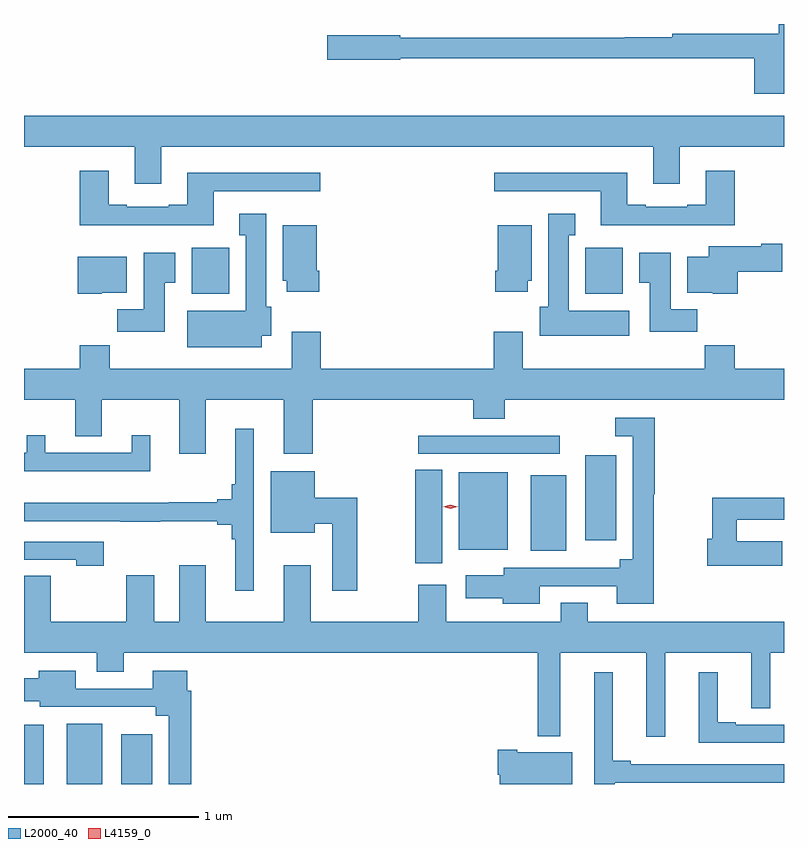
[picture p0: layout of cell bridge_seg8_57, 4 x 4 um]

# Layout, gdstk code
import gdstk
lib = gdstk.Library(unit=1e-6, precision=1e-09)
def R(c, l, rs):  # rectangles x0, y0, x1, y1
    for r in rs: c.add(gdstk.rectangle(r[:2], r[2:], *l))
def P(c, l, *ps):  # polygons
    for p in ps: c.add(gdstk.Polygon(p, *l))
L2000_40 = (2000, 40)
L4159_0 = (4159, 0)

bridge_seg8_57 = lib.new_cell('bridge_seg8_57')
R(bridge_seg8_57, L2000_40, [(1070.387,1107.818,1070.491,1108.129), (1070.612,1107.818,1070.8,1108.135), (1070.9,1107.818,1071.061,1108.081), (1072.447,1108.98,1072.588,1109.471), (1073.054,1109.045,1073.242,1109.443), (1072.676,1109.051,1072.933,1109.458), (1073.342,1109.1,1073.503,1109.548), (1072.461,1109.556,1073.206,1109.652), (1071.269,1110.398,1071.466,1110.64), (1073.342,1110.398,1073.539,1110.64)])
P(bridge_seg8_57, L2000_40, [(1074.387,1111.818),(1074.36,1111.818),(1074.36,1111.766),(1073.8,1111.766),(1073.8,1111.747),(1073.548,1111.747),(1073.548,1111.746),(1072.368,1111.746),(1072.368,1111.759),(1071.984,1111.759),(1071.984,1111.63),(1072.368,1111.63),(1072.368,1111.638),(1074.23,1111.638),(1074.23,1111.451),(1074.387,1111.451)],
  [(1071.109,1111.172),(1073.699,1111.172),(1073.699,1110.978),(1073.839,1110.978),(1073.839,1111.172),(1074.387,1111.172),(1074.387,1111.336),(1070.387,1111.336),(1070.387,1111.172),(1070.969,1111.172),(1070.969,1110.978),(1071.109,1110.978)],
  [(1074.128,1111.045),(1073.975,1111.045),(1073.975,1110.868),(1073.879,1110.868),(1073.879,1110.855),(1073.659,1110.855),(1073.659,1110.868),(1073.563,1110.868),(1073.563,1111.036),(1072.863,1111.036),(1072.863,1110.939),(1073.423,1110.939),(1073.423,1110.758),(1074.128,1110.758)],
  [(1071.385,1110.939),(1071.946,1110.939),(1071.946,1111.036),(1071.245,1111.036),(1071.245,1110.868),(1071.149,1110.868),(1071.149,1110.855),(1070.929,1110.855),(1070.929,1110.868),(1070.833,1110.868),(1070.833,1111.045),(1070.681,1111.045),(1070.681,1110.758),(1071.385,1110.758)],
  [(1071.637,1110.176),(1071.688,1110.176),(1071.688,1110.33),(1071.661,1110.33),(1071.661,1110.82),(1071.521,1110.82),(1071.521,1110.707),(1071.554,1110.707),(1071.554,1110.31),(1071.245,1110.31),(1071.245,1110.116),(1071.637,1110.116)],
  [(1073.572,1110.31),(1073.254,1110.31),(1073.254,1110.707),(1073.287,1110.707),(1073.287,1110.82),(1073.147,1110.82),(1073.147,1110.33),(1073.102,1110.33),(1073.102,1110.176),(1073.572,1110.176)],
  [(1073.038,1110.468),(1073.059,1110.468),(1073.059,1110.76),(1072.88,1110.76),(1072.88,1110.52),(1072.868,1110.52),(1072.868,1110.408),(1073.038,1110.408)],
  [(1071.941,1110.52),(1071.928,1110.52),(1071.928,1110.76),(1071.749,1110.76),(1071.749,1110.468),(1071.77,1110.468),(1071.77,1110.408),(1071.941,1110.408)],
  [(1074.143,1110.515),(1074.379,1110.515),(1074.379,1110.662),(1074.266,1110.662),(1074.266,1110.649),(1073.99,1110.649),(1073.99,1110.592),(1073.879,1110.592),(1073.879,1110.404),(1074.012,1110.404),(1074.012,1110.398),(1074.143,1110.398)],
  [(1073.93,1110.316),(1073.791,1110.316),(1073.791,1110.613),(1073.624,1110.613),(1073.624,1110.457),(1073.681,1110.457),(1073.681,1110.198),(1073.93,1110.198)],
  [(1071.127,1110.457),(1071.184,1110.457),(1071.184,1110.613),(1071.017,1110.613),(1071.017,1110.316),(1070.878,1110.316),(1070.878,1110.198),(1071.127,1110.198)],
  [(1070.796,1110.404),(1070.929,1110.404),(1070.929,1110.592),(1070.671,1110.592),(1070.671,1110.398),(1070.796,1110.398)],
  [(1071.343,1109.84),(1071.755,1109.84),(1071.755,1109.556),(1071.908,1109.556),(1071.908,1109.84),(1072.751,1109.84),(1072.751,1109.741),(1072.916,1109.741),(1072.916,1109.84),(1074.387,1109.84),(1074.387,1110.004),(1074.128,1110.004),(1074.128,1110.128),(1073.971,1110.128),(1073.971,1110.004),(1073.011,1110.004),(1073.011,1110.199),(1072.859,1110.199),(1072.859,1110.004),(1071.95,1110.004),(1071.95,1110.199),(1071.797,1110.199),(1071.797,1110.004),(1070.837,1110.004),(1070.837,1110.128),(1070.681,1110.128),(1070.681,1110.004),(1070.387,1110.004),(1070.387,1109.84),(1070.657,1109.84),(1070.657,1109.647),(1070.797,1109.647),(1070.797,1109.84),(1071.203,1109.84),(1071.203,1109.556),(1071.343,1109.556)],
  [(1073.101,1108.86),(1073.507,1108.86),(1073.507,1108.766),(1073.701,1108.766),(1073.701,1109.342),(1073.708,1109.342),(1073.708,1109.745),(1073.499,1109.745),(1073.499,1109.649),(1073.592,1109.649),(1073.592,1109.002),(1073.522,1109.002),(1073.522,1108.956),(1072.913,1108.956),(1072.913,1108.918),(1072.713,1108.918),(1072.713,1108.796),(1072.906,1108.796),(1072.906,1108.766),(1073.101,1108.766)],
  [(1071.597,1109.689),(1071.5,1109.689),(1071.5,1109.395),(1071.481,1109.395),(1071.481,1109.318),(1071.404,1109.318),(1071.404,1109.301),(1071.148,1109.301),(1071.148,1109.299),(1070.387,1109.299),(1070.387,1109.202),(1070.893,1109.202),(1070.893,1109.197),(1071.104,1109.197),(1071.104,1109.2),(1071.404,1109.2),(1071.404,1109.182),(1071.481,1109.182),(1071.481,1109.105),(1071.5,1109.105),(1071.5,1108.836),(1071.597,1108.836)],
  [(1071.052,1109.653),(1070.954,1109.653),(1070.954,1109.562),(1070.5,1109.562),(1070.5,1109.653),(1070.402,1109.653),(1070.402,1109.562),(1070.387,1109.562),(1070.387,1109.465),(1071.052,1109.465)],
  [(1072.14,1109.324),(1071.916,1109.324),(1071.916,1109.464),(1071.686,1109.464),(1071.686,1109.141),(1071.916,1109.141),(1071.916,1109.188),(1072.01,1109.188),(1072.01,1108.836),(1072.14,1108.836)],
  [(1074.379,1109.095),(1074.137,1109.095),(1074.137,1109.208),(1074.387,1109.208),(1074.387,1109.324),(1074.009,1109.324),(1074.009,1109.108),(1073.983,1109.108),(1073.983,1108.966),(1074.379,1108.966)],
  [(1070.806,1109.094),(1070.387,1109.094),(1070.387,1108.998),(1070.661,1108.998),(1070.661,1108.966),(1070.806,1108.966)],
  [(1073.762,1108.508),(1074.215,1108.508),(1074.215,1108.216),(1074.314,1108.216),(1074.314,1108.508),(1074.387,1108.508),(1074.387,1108.672),(1073.353,1108.672),(1073.353,1108.771),(1073.213,1108.771),(1073.213,1108.672),(1072.609,1108.672),(1072.609,1108.867),(1072.462,1108.867),(1072.462,1108.672),(1071.895,1108.672),(1071.895,1108.969),(1071.755,1108.969),(1071.755,1108.672),(1071.343,1108.672),(1071.343,1108.969),(1071.203,1108.969),(1071.203,1108.672),(1071.073,1108.672),(1071.073,1108.918),(1070.926,1108.918),(1070.926,1108.672),(1070.528,1108.672),(1070.528,1108.913),(1070.387,1108.913),(1070.387,1108.508),(1070.771,1108.508),(1070.771,1108.409),(1070.911,1108.409),(1070.911,1108.508),(1073.092,1108.508),(1073.092,1108.07),(1073.21,1108.07),(1073.21,1108.508),(1073.663,1108.508),(1073.663,1108.068),(1073.762,1108.068)],
  [(1071.266,1108.31),(1071.247,1108.31),(1071.247,1108.414),(1071.065,1108.414),(1071.065,1108.32),(1070.659,1108.32),(1070.659,1108.414),(1070.464,1108.414),(1070.464,1108.375),(1070.387,1108.375),(1070.387,1108.253),(1070.471,1108.253),(1070.471,1108.224),(1071.08,1108.224),(1071.08,1108.178),(1071.15,1108.178),(1071.15,1107.818),(1071.266,1107.818)],
  [(1074.387,1108.131),(1074.133,1108.131),(1074.133,1108.144),(1074.038,1108.144),(1074.038,1108.405),(1073.939,1108.405),(1073.939,1108.035),(1074.387,1108.035)],
  [(1073.497,1107.824),(1073.843,1107.824),(1073.843,1107.825),(1074.387,1107.825),(1074.387,1107.921),(1073.581,1107.921),(1073.581,1107.941),(1073.486,1107.941),(1073.486,1108.405),(1073.387,1108.405),(1073.387,1108.018),(1073.388,1108.018),(1073.388,1107.818),(1073.497,1107.818)],
  [(1073.272,1107.985),(1072.984,1107.985),(1072.984,1107.998),(1072.88,1107.998),(1072.88,1107.867),(1072.892,1107.867),(1072.892,1107.818),(1073.272,1107.818)])
P(bridge_seg8_57, L4159_0, [(1072.631,1109.267),(1072.593,1109.277),(1072.592,1109.277),(1072.593,1109.277),(1072.631,1109.287),(1072.669,1109.277),(1072.669,1109.277),(1072.669,1109.277)])

lib.write_gds('bridge_seg8_57.gds')
